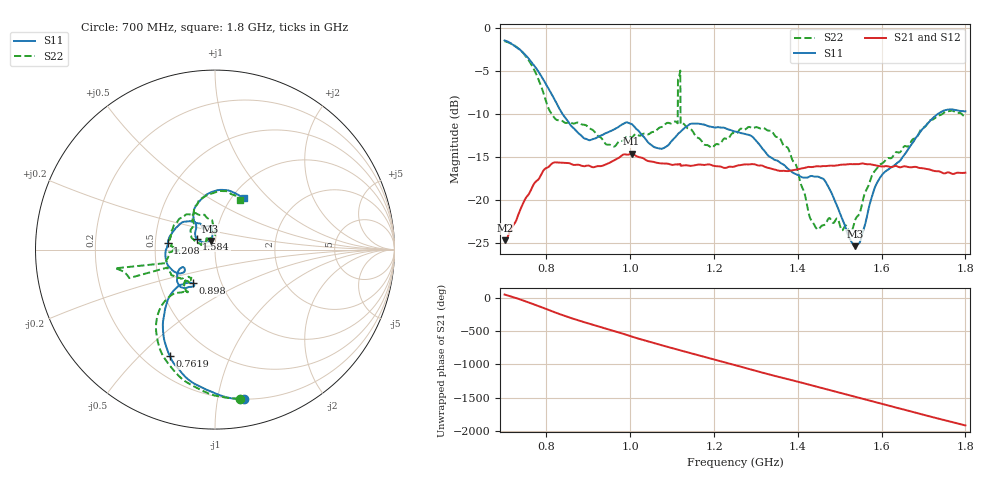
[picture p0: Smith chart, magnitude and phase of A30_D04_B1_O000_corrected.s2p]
! Created with skrf 1.9.0 (http://scikit-rf.org).
# Hz S RI R 50.0
!freq ReS11 ImS11 ReS21 ImS21 ReS12 ImS12 ReS22 ImS22
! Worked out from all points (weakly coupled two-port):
!   1601 points, 700 MHz to 1.8 GHz, reference 50 ohm
!   highest |S21| = -14.60 dB at 1.003 GHz (marker M1); lowest = -24.7 dB at 700.7 MHz (marker M2)
!   lowest |S11| = -25.4 dB at 1.536 GHz (marker M3), VSWR 1.11, Z = 47.4 + j4.55 ohm
!   |S11| at or under -10 dB: 838.6 MHz to 1.733 GHz (894.6 MHz wide, 69.6 % of centre)
!   |S22| runs from -23.9 to -1.5 dB; largest |S21 - S12| = 0.0033
!   S11 on the Smith chart (normalised r, x): 700 MHz: 0.20, -1.19; 761.9 MHz: 0.30, -0.62; 898 MHz: 0.73, -0.29; 1.208 GHz: 0.58, +0.04; 1.584 GHz: 0.81, +0.10; 1.8 GHz: 1.13, +0.73
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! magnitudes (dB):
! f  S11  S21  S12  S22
! 700 MHz  -1.4  -24.7  -24.5  -1.5
! 700.7 MHz  -1.4  -24.7  -24.4  -1.5
! 761.9 MHz  -3.8  -18.9  -18.9  -4.1
! 818.2 MHz  -8.2  -15.6  -15.7  -10.4
! 883.6 MHz  -12.5  -16.0  -15.9  -11.2
! 898 MHz  -12.9  -16.0  -16.0  -11.4
! 1.003 GHz  -11.1  -14.6  -14.7  -12.7
! 1.067 GHz  -14.0  -15.7  -15.6  -11.7
! 1.108 GHz  -12.7  -15.8  -15.9  -10.9
! 1.114 GHz  -12.3  -15.8  -15.9  -6.0
! 1.126 GHz  -11.8  -16.0  -16.0  -11.1
! 1.208 GHz  -11.5  -16.1  -16.1  -13.5
! 1.25 GHz  -12.0  -16.1  -16.0  -12.3
! 1.357 GHz  -15.6  -16.6  -16.5  -12.8
! 1.396 GHz  -17.0  -16.5  -16.4  -15.9
! 1.434 GHz  -17.2  -16.1  -16.1  -22.4
! 1.468 GHz  -18.0  -16.0  -16.0  -22.6
! 1.536 GHz  -25.4  -15.8  -15.8  -22.4
! 1.584 GHz  -18.5  -15.9  -15.9  -16.6
! 1.617 GHz  -16.4  -16.1  -16.0  -15.1
! 1.732 GHz  -10.1  -16.6  -16.6  -10.3
! 1.8 GHz  -9.7  -16.8  -16.8  -10.2
